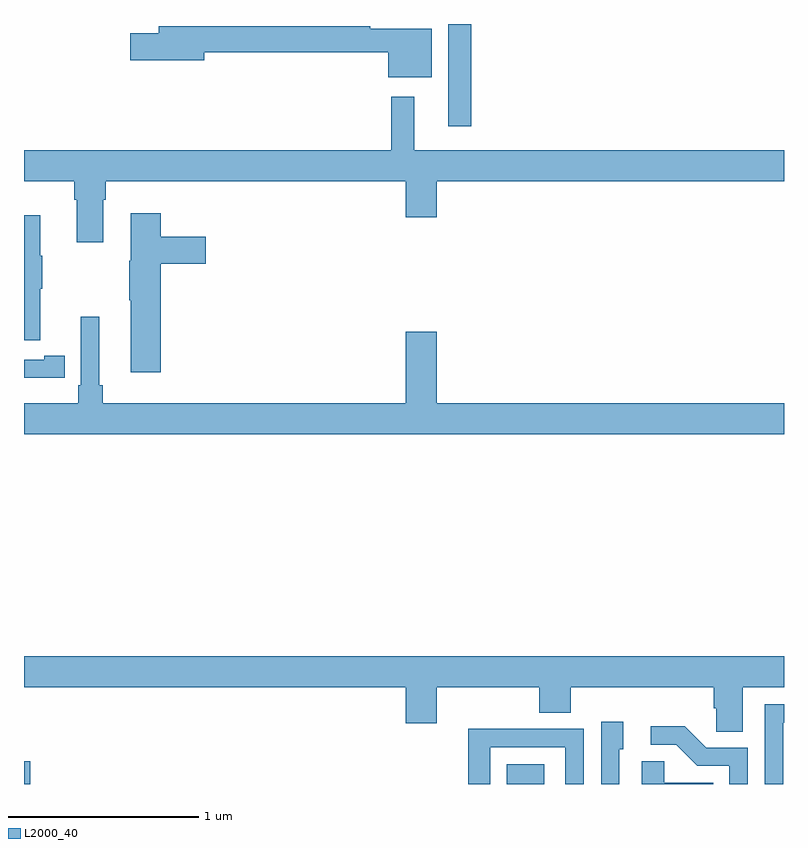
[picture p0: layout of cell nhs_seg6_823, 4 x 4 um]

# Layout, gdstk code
import gdstk
lib = gdstk.Library(unit=1e-6, precision=1e-09)
def R(c, l, rs):  # rectangles x0, y0, x1, y1
    for r in rs: c.add(gdstk.rectangle(r[:2], r[2:], *l))
def P(c, l, *ps):  # polygons
    for p in ps: c.add(gdstk.Polygon(p, *l))
L2000_40 = (2000, 40)

nhs_seg6_823 = lib.new_cell('nhs_seg6_823')
R(nhs_seg6_823, L2000_40, [(163,941.5,163.034,941.62), (165.542,941.5,165.739,941.605), (165.233,944.961,165.355,945.5)])
P(nhs_seg6_823, L2000_40, [(165.145,945.475),(164.822,945.475),(164.822,945.488),(163.709,945.488),(163.709,945.452),(163.56,945.452),(163.56,945.31),(163.948,945.31),(163.948,945.352),(164.918,945.352),(164.918,945.221),(165.145,945.221)],
  [(163.417,944.576),(163.43,944.576),(163.43,944.672),(165.008,944.672),(165.008,944.484),(165.172,944.484),(165.172,944.672),(167,944.672),(167,944.836),(165.055,944.836),(165.055,945.118),(164.934,945.118),(164.934,944.836),(163,944.836),(163,944.672),(163.265,944.672),(163.265,944.576),(163.277,944.576),(163.277,944.352),(163.417,944.352)],
  [(163.721,944.237),(163.957,944.237),(163.957,944.379),(163.721,944.379),(163.721,944.503),(163.562,944.503),(163.562,944.253),(163.555,944.253),(163.555,944.047),(163.562,944.047),(163.562,943.668),(163.721,943.668)],
  [(163.085,944.107),(163.096,944.107),(163.096,944.281),(163.085,944.281),(163.085,944.494),(163,944.494),(163,943.836),(163.085,943.836)],
  [(167,943.504),(165.172,943.504),(165.172,943.879),(165.008,943.879),(165.008,943.504),(163.415,943.504),(163.415,943.6),(163.396,943.6),(163.396,943.96),(163.299,943.96),(163.299,943.6),(163.286,943.6),(163.286,943.504),(163,943.504),(163,943.34),(167,943.34)],
  [(163.106,943.638),(163.214,943.638),(163.214,943.754),(163.106,943.754),(163.106,943.734),(163,943.734),(163,943.637),(163.106,943.637)],
  [(166.783,942.008),(167,942.008),(167,942.172),(163,942.172),(163,942.008),(165.008,942.008),(165.008,941.82),(165.172,941.82),(165.172,942.008),(165.713,942.008),(165.713,941.875),(165.878,941.875),(165.878,942.008),(166.631,942.008),(166.631,941.899),(166.644,941.899),(166.644,941.776),(166.783,941.776)],
  [(166.995,941.823),(167,941.823),(167,941.919),(166.899,941.919),(166.899,941.5),(166.995,941.5)],
  [(166.134,941.682),(166.153,941.682),(166.153,941.827),(166.038,941.827),(166.038,941.5),(166.134,941.5)],
  [(166.809,941.691),(166.59,941.691),(166.477,941.804),(166.299,941.804),(166.299,941.706),(166.433,941.706),(166.544,941.595),(166.713,941.595),(166.713,941.5),(166.809,941.5)],
  [(165.453,941.694),(165.849,941.694),(165.849,941.5),(165.945,941.5),(165.945,941.79),(165.629,941.79),(165.629,941.792),(165.337,941.792),(165.337,941.5),(165.453,941.5)],
  [(166.628,941.506),(166.371,941.506),(166.371,941.621),(166.25,941.621),(166.25,941.5),(166.628,941.5)])

lib.write_gds('nhs_seg6_823.gds')
